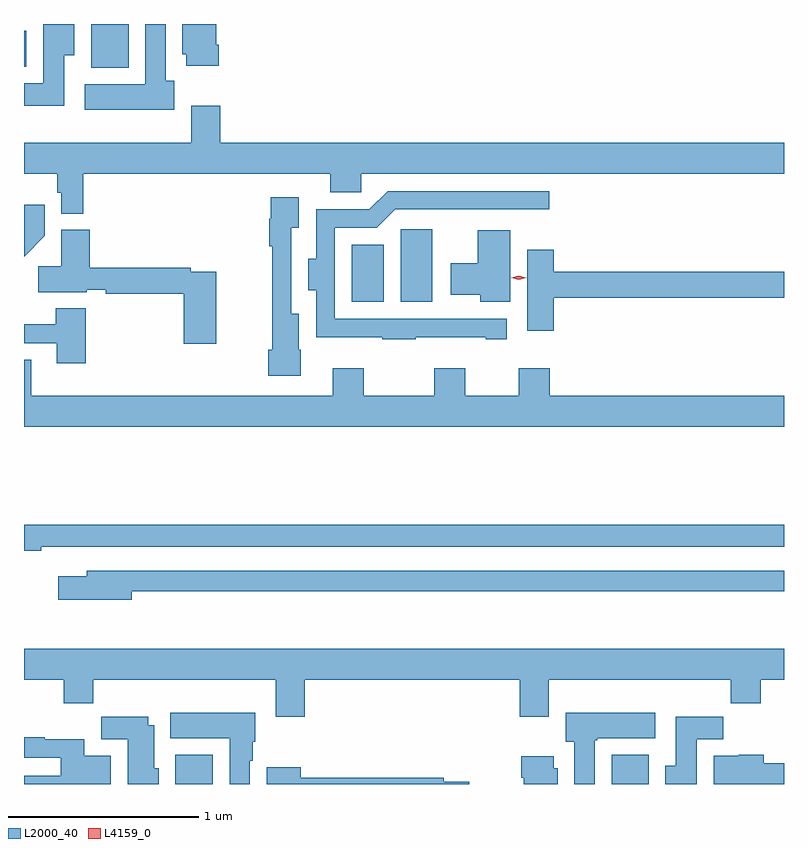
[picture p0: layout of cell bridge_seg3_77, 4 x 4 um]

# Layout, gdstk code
import gdstk
lib = gdstk.Library(unit=1e-6, precision=1e-09)
def R(c, l, rs):  # rectangles x0, y0, x1, y1
    for r in rs: c.add(gdstk.rectangle(r[:2], r[2:], *l))
def P(c, l, *ps):  # polygons
    for p in ps: c.add(gdstk.Polygon(p, *l))
L2000_40 = (2000, 40)
L4159_0 = (4159, 0)

bridge_seg3_77 = lib.new_cell('bridge_seg3_77')
R(bridge_seg3_77, L2000_40, [(471.425,683.052,471.622,683.206), (473.721,683.052,473.917,683.206), (472.352,685.589,472.522,685.891), (472.61,685.589,472.777,685.972), (470.981,686.822,471.178,687.052), (470.628,686.828,470.641,687.016)])
P(bridge_seg3_77, L2000_40, [(471.418,686.754),(471.373,686.754),(471.373,687.052),(471.266,687.052),(471.266,686.734),(470.949,686.734),(470.949,686.6),(471.418,686.6)],
  [(471.653,686.944),(471.64,686.944),(471.64,687.052),(471.461,687.052),(471.461,686.892),(471.482,686.892),(471.482,686.832),(471.653,686.832)],
  [(470.839,686.888),(470.893,686.888),(470.893,687.052),(470.729,687.052),(470.729,686.74),(470.628,686.74),(470.628,686.622),(470.839,686.622)],
  [(470.939,686.264),(472.241,686.264),(472.241,686.166),(472.404,686.166),(472.404,686.264),(474.628,686.264),(474.628,686.428),(471.662,686.428),(471.662,686.623),(471.509,686.623),(471.509,686.428),(470.628,686.428),(470.628,686.264),(470.803,686.264),(470.803,686.163),(470.823,686.163),(470.823,686.054),(470.939,686.054)],
  [(472.691,685.403),(473.057,685.403),(473.057,685.392),(473.17,685.392),(473.17,685.5),(472.263,685.5),(472.263,685.98),(472.485,685.98),(472.581,686.076),(473.392,686.076),(473.392,686.172),(472.542,686.172),(472.446,686.076),(472.166,686.076),(472.166,685.816),(472.124,685.816),(472.124,685.652),(472.167,685.652),(472.167,685.403),(472.513,685.403),(472.513,685.392),(472.691,685.392)],
  [(472.084,685.338),(472.075,685.338),(472.075,685.528),(472.035,685.528),(472.035,685.979),(472.075,685.979),(472.075,686.14),(471.927,686.14),(471.927,686.027),(471.919,686.027),(471.919,685.883),(471.934,685.883),(471.934,685.338),(471.914,685.338),(471.914,685.202),(472.084,685.202)],
  [(470.738,685.938),(470.738,686.101),(470.628,686.101),(470.628,685.828)],
  [(471.64,685.749),(471.506,685.749),(471.506,685.769),(470.975,685.769),(470.975,685.969),(470.825,685.969),(470.825,685.778),(470.704,685.778),(470.704,685.64),(470.958,685.64),(470.958,685.653),(471.058,685.653),(471.058,685.633),(471.47,685.633),(471.47,685.368),(471.64,685.368)],
  [(473.188,685.966),(473.015,685.966),(473.015,685.792),(472.875,685.792),(472.875,685.628),(473.03,685.628),(473.03,685.589),(473.188,685.589)],
  [(473.417,685.612),(474.628,685.612),(474.628,685.748),(473.417,685.748),(473.417,685.864),(473.276,685.864),(473.276,685.437),(473.417,685.437)],
  [(470.954,685.555),(470.794,685.555),(470.794,685.471),(470.628,685.471),(470.628,685.371),(470.801,685.371),(470.801,685.266),(470.954,685.266)],
  [(474.628,685.096),(473.395,685.096),(473.395,685.24),(473.231,685.24),(473.231,685.096),(472.951,685.096),(472.951,685.24),(472.787,685.24),(472.787,685.096),(472.417,685.096),(472.417,685.24),(472.253,685.24),(472.253,685.096),(470.665,685.096),(470.665,685.286),(470.628,685.286),(470.628,684.932),(474.628,684.932)],
  [(470.72,684.3),(474.628,684.3),(474.628,684.416),(470.628,684.416),(470.628,684.28),(470.72,684.28)],
  [(471.196,684.066),(474.628,684.066),(474.628,684.174),(470.957,684.174),(470.957,684.145),(470.808,684.145),(470.808,684.023),(471.196,684.023)],
  [(472.106,683.6),(473.237,683.6),(473.237,683.406),(473.389,683.406),(473.389,683.6),(474.349,683.6),(474.349,683.476),(474.506,683.476),(474.506,683.6),(474.628,683.6),(474.628,683.764),(470.628,683.764),(470.628,683.6),(470.837,683.6),(470.837,683.476),(470.993,683.476),(470.993,683.6),(471.953,683.6),(471.953,683.406),(472.106,683.406)],
  [(473.632,683.281),(473.646,683.281),(473.646,683.294),(473.95,683.294),(473.95,683.428),(473.48,683.428),(473.48,683.274),(473.525,683.274),(473.525,683.052),(473.632,683.052)],
  [(471.817,683.174),(471.832,683.174),(471.832,683.274),(471.844,683.274),(471.844,683.428),(471.398,683.428),(471.398,683.294),(471.71,683.294),(471.71,683.052),(471.817,683.052)],
  [(471.337,683.136),(471.313,683.136),(471.313,683.362),(471.283,683.362),(471.283,683.407),(471.034,683.407),(471.034,683.288),(471.173,683.288),(471.173,683.052),(471.337,683.052)],
  [(474.169,683.288),(474.308,683.288),(474.308,683.407),(474.059,683.407),(474.059,683.148),(474.002,683.148),(474.002,683.052),(474.169,683.052)],
  [(471.085,683.2),(470.944,683.2),(470.944,683.288),(470.738,683.288),(470.738,683.299),(470.628,683.299),(470.628,683.19),(470.822,683.19),(470.822,683.095),(470.628,683.095),(470.628,683.052),(471.085,683.052)],
  [(474.628,683.16),(474.521,683.16),(474.521,683.206),(474.39,683.206),(474.39,683.2),(474.257,683.2),(474.257,683.052),(474.628,683.052)],
  [(473.437,683.136),(473.416,683.136),(473.416,683.197),(473.246,683.197),(473.246,683.084),(473.258,683.084),(473.258,683.052),(473.437,683.052)],
  [(472.972,683.064),(472.838,683.064),(472.838,683.084),(472.084,683.084),(472.084,683.14),(471.905,683.14),(471.905,683.052),(472.972,683.052)])
P(bridge_seg3_77, L4159_0, [(473.232,685.707),(473.193,685.717),(473.193,685.717),(473.193,685.717),(473.232,685.727),(473.271,685.717),(473.272,685.717),(473.271,685.716)])

lib.write_gds('bridge_seg3_77.gds')
